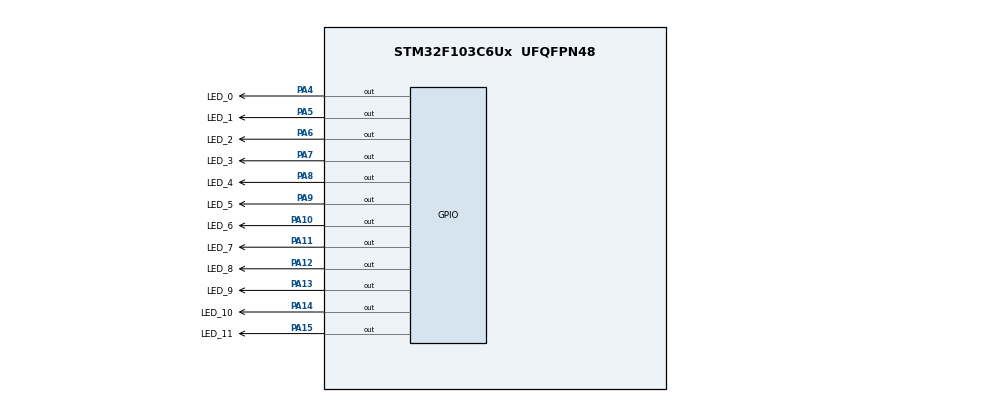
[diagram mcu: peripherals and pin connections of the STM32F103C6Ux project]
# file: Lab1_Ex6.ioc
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Mcu.Family=STM32F1
Mcu.Name=STM32F103C6Ux
Mcu.Package=UFQFPN48
NVIC.PriorityGroup=NVIC_PRIORITYGROUP_4
PA10.GPIO_Label=LED_6
PA10.Signal=GPIO_Output
PA11.GPIO_Label=LED_7
PA11.Signal=GPIO_Output
PA12.GPIO_Label=LED_8
PA12.Signal=GPIO_Output
PA13.GPIO_Label=LED_9
PA13.Signal=GPIO_Output
PA14.GPIO_Label=LED_10
PA14.Signal=GPIO_Output
PA15.GPIO_Label=LED_11
PA15.Signal=GPIO_Output
PA4.GPIO_Label=LED_0
PA4.Signal=GPIO_Output
PA5.GPIO_Label=LED_1
PA5.Signal=GPIO_Output
PA6.GPIO_Label=LED_2
PA6.Signal=GPIO_Output
PA7.GPIO_Label=LED_3
PA7.Signal=GPIO_Output
PA8.GPIO_Label=LED_4
PA8.Signal=GPIO_Output
PA9.GPIO_Label=LED_5
PA9.Signal=GPIO_Output
ProjectManager.HeapSize=0x200
ProjectManager.StackSize=0x400
ProjectManager.TargetToolchain=STM32CubeIDE
RCC.APB1Freq_Value=8000000
RCC.APB2Freq_Value=8000000
VP_SYS_VS_ND.Mode=No_Debug
board=custom

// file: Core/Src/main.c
/* USER CODE BEGIN Header */
/**
  ******************************************************************************
  * @file           : main.c
  * @brief          : Main program body
  ******************************************************************************
  * @attention
  *
  * <h2><center>&copy; Copyright (c) 2022 STMicroelectronics.
  * All rights reserved.</center></h2>
  *
  * This software component is licensed by ST under BSD 3-Clause license,
  * the "License"; You may not use this file except in compliance with the
  * License. You may obtain a copy of the License at:
  *                        opensource.org/licenses/BSD-3-Clause
  *
  ******************************************************************************
  */
/* USER CODE END Header */
#include "main.h"

void SystemClock_Config(void);
static void MX_GPIO_Init(void);

int main(void)
{

  /* MCU Configuration--------------------------------------------------------*/

  /* Reset of all peripherals, Initializes the Flash interface and the Systick. */
  HAL_Init();

  /* Configure the system clock */
  SystemClock_Config();

  /* Initialize all configured peripherals */
  MX_GPIO_Init();

  /* Infinite loop */
  /* USER CODE BEGIN WHILE */
  //begin case 1
  void displayclock(int num){
	  HAL_GPIO_WritePin(LED_0_GPIO_Port, LED_0_Pin, RESET);
	  HAL_GPIO_WritePin(LED_1_GPIO_Port, LED_1_Pin, RESET);
	  HAL_GPIO_WritePin(LED_2_GPIO_Port, LED_2_Pin, RESET);
	  HAL_GPIO_WritePin(LED_3_GPIO_Port, LED_3_Pin, RESET);
	  HAL_GPIO_WritePin(LED_4_GPIO_Port, LED_4_Pin, RESET);
	  HAL_GPIO_WritePin(LED_5_GPIO_Port, LED_5_Pin, RESET);
	  HAL_GPIO_WritePin(LED_6_GPIO_Port, LED_6_Pin, RESET);
	  HAL_GPIO_WritePin(LED_7_GPIO_Port, LED_7_Pin, RESET);
	  HAL_GPIO_WritePin(LED_8_GPIO_Port, LED_8_Pin, RESET);
	  HAL_GPIO_WritePin(LED_9_GPIO_Port, LED_9_Pin, RESET);
	  HAL_GPIO_WritePin(LED_10_GPIO_Port, LED_10_Pin, RESET);
	  HAL_GPIO_WritePin(LED_11_GPIO_Port, LED_11_Pin, RESET);
	  if (num == 0 ){
		  HAL_GPIO_WritePin(LED_0_GPIO_Port, LED_0_Pin, SET);
		  HAL_GPIO_WritePin(LED_1_GPIO_Port, LED_1_Pin, SET);
		  HAL_GPIO_WritePin(LED_2_GPIO_Port, LED_2_Pin, SET);

	  }
	  if (num == 1){
		  HAL_GPIO_WritePin(LED_3_GPIO_Port, LED_3_Pin, SET);
		  HAL_GPIO_WritePin(LED_4_GPIO_Port, LED_4_Pin, SET);
		  HAL_GPIO_WritePin(LED_5_GPIO_Port, LED_5_Pin, SET);

	  }
	  if (num == 2){
		  HAL_GPIO_WritePin(LED_6_GPIO_Port, LED_6_Pin, SET);
		  HAL_GPIO_WritePin(LED_7_GPIO_Port, LED_7_Pin, SET);
		  HAL_GPIO_WritePin(LED_8_GPIO_Port, LED_8_Pin, SET);

	  }
	  if (num == 3){
		  HAL_GPIO_WritePin(LED_9_GPIO_Port, LED_9_Pin, SET);
		  HAL_GPIO_WritePin(LED_10_GPIO_Port, LED_10_Pin, SET);
		  HAL_GPIO_WritePin(LED_11_GPIO_Port, LED_11_Pin, SET);
	  }

  }
  //end case 1

  int counter = 0;
  while (1)
  {
	  if(counter >= 4) counter = 0;
	  displayclock(counter);
	  counter++;
	  HAL_Delay(1000);
    /* USER CODE END WHILE */

  }
}

void SystemClock_Config(void)
{
  RCC_OscInitTypeDef RCC_OscInitStruct = {0};
  RCC_ClkInitTypeDef RCC_ClkInitStruct = {0};

  /** Initializes the RCC Oscillators according to the specified parameters
  * in the RCC_OscInitTypeDef structure.
  */
  RCC_OscInitStruct.OscillatorType = RCC_OSCILLATORTYPE_HSI;
  RCC_OscInitStruct.HSIState = RCC_HSI_ON;
  RCC_OscInitStruct.HSICalibrationValue = RCC_HSICALIBRATION_DEFAULT;
  RCC_OscInitStruct.PLL.PLLState = RCC_PLL_NONE;
  if (HAL_RCC_OscConfig(&RCC_OscInitStruct) != HAL_OK)
  {
    Error_Handler();
  }
  /** Initializes the CPU, AHB and APB buses clocks
  */
  RCC_ClkInitStruct.ClockType = RCC_CLOCKTYPE_HCLK|RCC_CLOCKTYPE_SYSCLK
                              |RCC_CLOCKTYPE_PCLK1|RCC_CLOCKTYPE_PCLK2;
  RCC_ClkInitStruct.SYSCLKSource = RCC_SYSCLKSOURCE_HSI;
  RCC_ClkInitStruct.AHBCLKDivider = RCC_SYSCLK_DIV1;
  RCC_ClkInitStruct.APB1CLKDivider = RCC_HCLK_DIV1;
  RCC_ClkInitStruct.APB2CLKDivider = RCC_HCLK_DIV1;

  if (HAL_RCC_ClockConfig(&RCC_ClkInitStruct, FLASH_LATENCY_0) != HAL_OK)
  {
    Error_Handler();
  }
}

static void MX_GPIO_Init(void)
{
  GPIO_InitTypeDef GPIO_InitStruct = {0};

  /* GPIO Ports Clock Enable */
  __HAL_RCC_GPIOA_CLK_ENABLE();

  /*Configure GPIO pin Output Level */
  HAL_GPIO_WritePin(GPIOA, LED_0_Pin|LED_1_Pin|LED_2_Pin|LED_3_Pin
                          |LED_4_Pin|LED_5_Pin|LED_6_Pin|LED_7_Pin
                          |LED_8_Pin|LED_9_Pin|LED_10_Pin|LED_11_Pin, GPIO_PIN_RESET);

  /*Configure GPIO pins : LED_0_Pin LED_1_Pin LED_2_Pin LED_3_Pin
                           LED_4_Pin LED_5_Pin LED_6_Pin LED_7_Pin
                           LED_8_Pin LED_9_Pin LED_10_Pin LED_11_Pin */
  GPIO_InitStruct.Pin = LED_0_Pin|LED_1_Pin|LED_2_Pin|LED_3_Pin
                          |LED_4_Pin|LED_5_Pin|LED_6_Pin|LED_7_Pin
                          |LED_8_Pin|LED_9_Pin|LED_10_Pin|LED_11_Pin;
  GPIO_InitStruct.Mode = GPIO_MODE_OUTPUT_PP;
  GPIO_InitStruct.Pull = GPIO_NOPULL;
  GPIO_InitStruct.Speed = GPIO_SPEED_FREQ_LOW;
  HAL_GPIO_Init(GPIOA, &GPIO_InitStruct);

}

void Error_Handler(void)
{
  __disable_irq();
  while (1)
  {
  }
}

/************************ (C) COPYRIGHT STMicroelectronics *****END OF FILE****/
